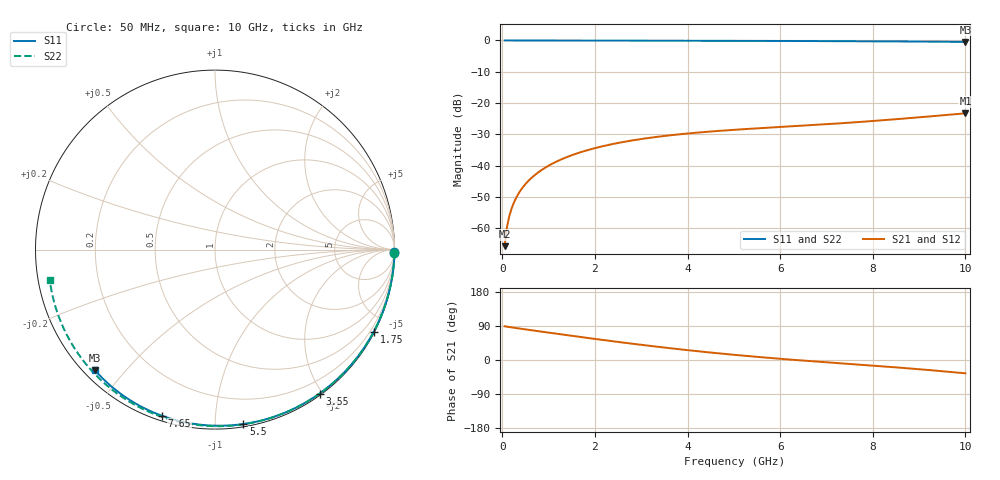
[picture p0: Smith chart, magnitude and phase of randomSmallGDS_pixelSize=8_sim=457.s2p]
! freq	dB(S11)	phase(S11)	dB(S12)	phase(S12)
!  dB(S21)	phase(S21)	dB(S22)	phase(S22)
!S-par simulation data
#  GHz  S  DB  R 50
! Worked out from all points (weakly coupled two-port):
!   200 points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, 50 MHz to 10 GHz, reference 50 ohm
!   highest |S21| = -23.30 dB at 10 GHz (marker M1); lowest = -65.8 dB at 50 MHz (marker M2)
!   lowest |S11| = -0.5 dB at 10 GHz (marker M3), VSWR 37.63, Z = 1.56 - j20.8 ohm
!   |S11| at or under -10 dB: nowhere
!   |S22| runs from -0.6 to 0.0 dB; largest |S21 - S12| = 0
!   S11 on the Smith chart (normalised r, x): 50 MHz: open; 1.75 GHz: 0.04, -4.11; 3.55 GHz: 0.02, -1.96; 5.5 GHz: 0.02, -1.18; 7.65 GHz: 0.02, -0.73; 10 GHz: 0.03, -0.42
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0.05  -0.00 -0.8  -65.78 89.0  -65.78 89.0  -0.00 -1.0
0.1  -0.00 -1.6  -59.77 88.0  -59.77 88.0  -0.00 -1.9
0.15  -0.00 -2.4  -56.26 87.0  -56.26 87.0  -0.00 -2.9
0.2  -0.00 -3.2  -53.78 86.0  -53.78 86.0  -0.00 -3.9
0.25  -0.00 -4.0  -51.86 85.1  -51.86 85.1  -0.00 -4.9
0.35  -0.00 -5.6  -48.97 83.3  -48.97 83.3  -0.00 -6.8
0.5  -0.01 -7.9  -45.92 80.7  -45.92 80.7  -0.01 -9.7
0.7  -0.01 -11.1  -43.05 77.3  -43.05 77.3  -0.02 -13.5
1  -0.02 -15.7  -40.04 72.2  -40.04 72.2  -0.02 -19.3
1.35  -0.03 -21.2  -37.55 66.4  -37.55 66.4  -0.03 -25.9
1.75  -0.04 -27.3  -35.47 59.7  -35.47 59.7  -0.04 -33.4
2.6  -0.05 -40.1  -32.49 46.1  -32.49 46.1  -0.07 -49.0
3.4  -0.07 -51.9  -30.71 34.2  -30.71 34.2  -0.09 -63.3
3.55  -0.08 -54.0  -30.45 32.1  -30.45 32.1  -0.09 -65.9
4.3  -0.10 -64.6  -29.36 22.1  -29.36 22.1  -0.12 -78.7
5.05  -0.12 -74.8  -28.53 13.2  -28.53 13.2  -0.15 -91.1
5.5  -0.14 -80.8  -28.10 8.3  -28.10 8.3  -0.17 -98.3
6.7  -0.19 -96.0  -27.05 -3.3  -27.05 -3.3  -0.23 -117.2
7.65  -0.25 -107.6  -26.13 -11.7  -26.13 -11.7  -0.31 -132.0
8.35  -0.30 -115.9  -25.36 -18.0  -25.36 -18.0  -0.37 -142.9
9.2  -0.38 -125.7  -24.33 -26.4  -24.33 -26.4  -0.47 -156.4
10  -0.46 -134.8  -23.30 -35.2  -23.30 -35.2  -0.57 -169.7
